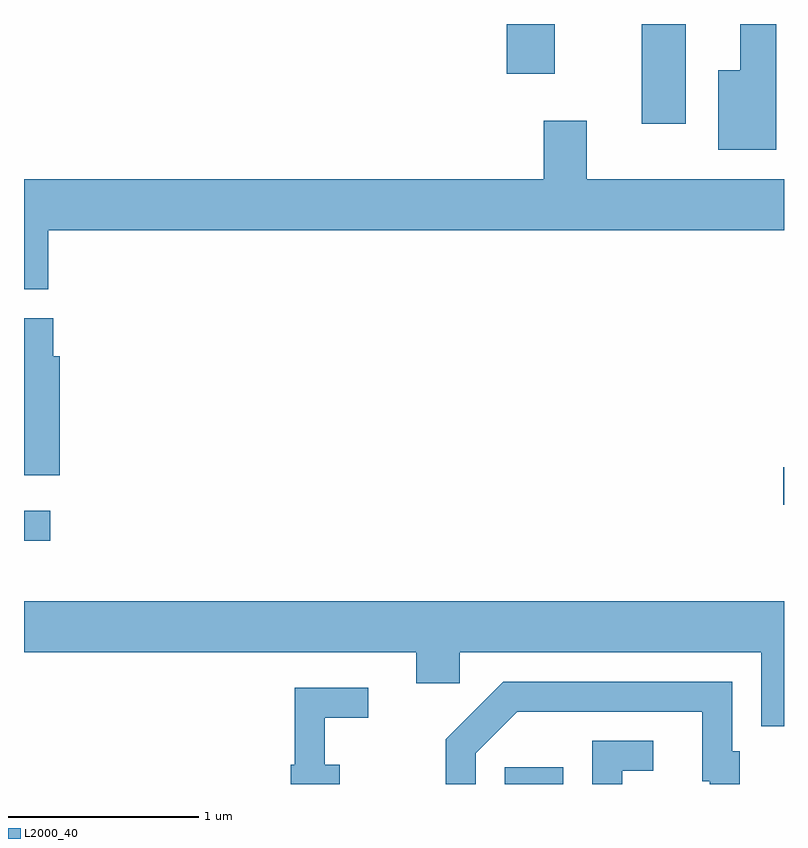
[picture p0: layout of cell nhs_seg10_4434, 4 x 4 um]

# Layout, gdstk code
import gdstk
lib = gdstk.Library(unit=1e-6, precision=1e-09)
def R(c, l, rs):  # rectangles x0, y0, x1, y1
    for r in rs: c.add(gdstk.rectangle(r[:2], r[2:], *l))
def P(c, l, *ps):  # polygons
    for p in ps: c.add(gdstk.Polygon(p, *l))
L2000_40 = (2000, 40)

nhs_seg10_4434 = lib.new_cell('nhs_seg10_4434')
R(nhs_seg10_4434, L2000_40, [(318.141,2146.522,318.449,2146.609), (315.611,2147.801,315.748,2147.959), (319.606,2147.991,319.611,2148.189), (318.861,2149.996,319.094,2150.522), (318.151,2150.261,318.404,2150.522)])
P(nhs_seg10_4434, L2000_40, [(319.569,2150.522),(319.381,2150.522),(319.381,2150.279),(319.266,2150.279),(319.266,2149.861),(319.569,2149.861)],
  [(315.739,2149.436),(319.611,2149.436),(319.611,2149.704),(318.574,2149.704),(318.574,2150.014),(318.346,2150.014),(318.346,2149.704),(315.611,2149.704),(315.611,2149.126),(315.739,2149.126)],
  [(315.799,2148.774),(315.764,2148.774),(315.764,2148.974),(315.611,2148.974),(315.611,2148.146),(315.799,2148.146)],
  [(319.611,2147.484),(315.611,2147.484),(315.611,2147.216),(317.676,2147.216),(317.676,2147.051),(317.904,2147.051),(317.904,2147.216),(319.491,2147.216),(319.491,2146.826),(319.611,2146.826)],
  [(317.989,2146.684),(318.207,2146.901),(319.181,2146.901),(319.181,2146.536),(319.221,2146.536),(319.221,2146.522),(319.379,2146.522),(319.379,2146.694),(319.339,2146.694),(319.339,2147.059),(318.134,2147.059),(317.831,2146.757),(317.831,2146.522),(317.989,2146.522)],
  [(317.274,2146.624),(317.194,2146.624),(317.194,2146.871),(317.423,2146.871),(317.423,2147.029),(317.036,2147.029),(317.036,2146.624),(317.016,2146.624),(317.016,2146.522),(317.274,2146.522)],
  [(318.759,2146.591),(318.923,2146.591),(318.923,2146.749),(318.601,2146.749),(318.601,2146.522),(318.759,2146.522)])

lib.write_gds('nhs_seg10_4434.gds')
